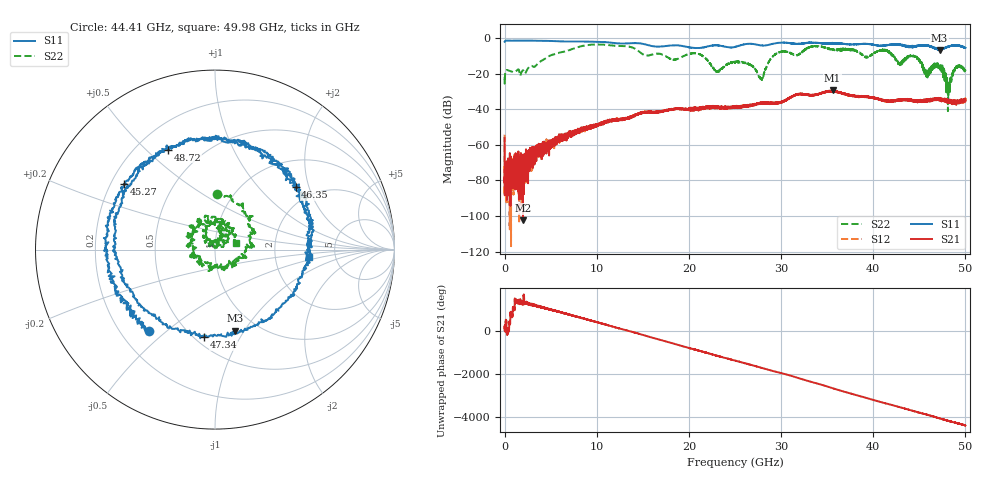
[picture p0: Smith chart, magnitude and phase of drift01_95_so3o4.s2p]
!Created with skrf (http://scikit-rf.org).
# Hz S RI R 50.0
!freq ReS11 ImS11 ReS21 ImS21 ReS12 ImS12 ReS22 ImS22
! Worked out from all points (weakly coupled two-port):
!   10001 points, 300 kHz to 50 GHz, reference 50 ohm
!   highest |S21| = -29.47 dB at 35.59 GHz (marker M1); lowest = -102.5 dB at 1.99 GHz (marker M2)
!   lowest |S11| = -6.6 dB at 47.2 GHz (marker M3), VSWR 2.74, Z = 39.4 - j45.5 ohm
!   |S11| at or under -10 dB: nowhere
!   |S22| runs from -41.0 to -3.6 dB; largest |S21 - S12| = 0.0039
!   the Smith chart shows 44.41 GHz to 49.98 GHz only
!   S11 on the Smith chart (normalised r, x): 44.41 GHz: 0.32, -0.44; 45.27 GHz: 0.25, +0.31; 46.35 GHz: 1.60, +1.64; 47.34 GHz: 0.56, -0.71; 48.72 GHz: 0.33, +0.59; 49.98 GHz: 3.17, -0.36
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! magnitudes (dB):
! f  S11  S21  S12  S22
! 300 kHz  -2.1  -56.3  -54.3  -21.8
! 255.3 MHz  -1.4  -75.8  -84.8  -18.0
! 1.99 GHz  -1.4  -102.5  -70.4  -18.2
! 8.335 GHz  -1.9  -50.6  -51.5  -4.5
! 16.67 GHz  -4.8  -41.2  -41.4  -8.7
! 20.97 GHz  -5.6  -39.6  -39.7  -8.8
! 23.08 GHz  -4.2  -38.4  -39.0  -18.7
! 25 GHz  -5.0  -39.0  -38.6  -13.6
! 27.84 GHz  -4.1  -36.3  -36.9  -23.0
! 29.47 GHz  -2.9  -37.0  -36.6  -8.8
! 33.34 GHz  -2.6  -32.1  -32.0  -4.7
! 35.59 GHz  -2.8  -29.5  -29.7  -6.5
! 41.67 GHz  -3.9  -35.6  -35.3  -7.6
! 44.41 GHz  -4.7  -34.8  -35.1  -10.1
! 45.27 GHz  -4.1  -35.4  -35.4  -15.3
! 46.35 GHz  -4.9  -35.1  -34.8  -17.0
! 47.2 GHz  -6.6  -34.6  -34.3  -15.7
! 47.34 GHz  -6.2  -34.3  -34.5  -15.4
! 48.13 GHz  -4.8  -35.8  -35.3  -34.2
! 48.72 GHz  -4.2  -35.2  -35.6  -18.4
! 49.98 GHz  -5.6  -34.8  -34.9  -18.2
! 50 GHz  -5.5  -34.6  -35.0  -18.3
